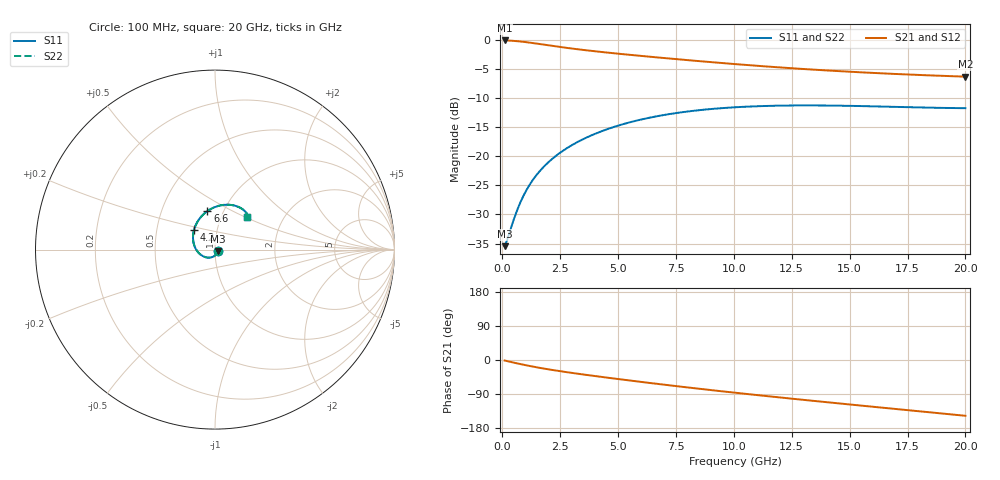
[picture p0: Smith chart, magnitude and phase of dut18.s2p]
! Created with skrf 1.9.0 (http://scikit-rf.org).
# GHz S RI R 50.0
!freq ReS11 ImS11 ReS21 ImS21 ReS12 ImS12 ReS22 ImS22
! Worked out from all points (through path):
!   200 points, 100 MHz to 20 GHz, reference 50 ohm
!   highest |S21| = -0.14 dB at 100 MHz (marker M1); lowest = -6.4 dB at 20 GHz (marker M2)
!   group delay of S21, straight-line fit = 19.2 ps
!   lowest |S11| = -35.5 dB at 100 MHz (marker M3), VSWR 1.03, Z = 51.6 - j0.713 ohm
!   |S11| at or under -10 dB: start of sweep to end of sweep
!   |S22| runs from -35.5 to -11.3 dB; largest |S21 - S12| = 2.2e-15
!   S11 on the Smith chart (normalised r, x): 100 MHz: 1.03, -0.01; 4.2 GHz: 0.77, +0.18; 6.6 GHz: 0.84, +0.38; 20 GHz: 1.32, +0.52
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0.1  0.0154 -0.00692  0.9835 -0.0236  0.9835 -0.0236  0.0154 -0.00692
0.2  0.0141 -0.0125  0.9815 -0.0482  0.9815 -0.0482  0.0141 -0.0125
0.6  0.000499 -0.0327  0.9615 -0.1414  0.9615 -0.1414  0.000499 -0.0327
0.8  -0.0103 -0.0396  0.9454 -0.1841  0.9454 -0.1841  -0.0103 -0.0396
1.1  -0.0294 -0.0446  0.9161 -0.2421  0.9161 -0.2421  -0.0294 -0.0446
1.4  -0.0497 -0.043  0.8826 -0.2926  0.8826 -0.2926  -0.0497 -0.043
1.8  -0.0749 -0.032  0.8352 -0.3494  0.8352 -0.3494  -0.0749 -0.032
2.3  -0.0997 -0.0079  0.7756 -0.4067  0.7756 -0.4067  -0.0997 -0.0079
2.9  -0.1173 0.0289  0.7065 -0.4611  0.7065 -0.4611  -0.1173 0.0289
3.5  -0.1226 0.068  0.6405 -0.5048  0.6405 -0.5048  -0.1226 0.068
4.2  -0.1165 0.1112  0.5664 -0.546  0.5664 -0.546  -0.1165 0.1112
5.3  -0.0892 0.168  0.4543 -0.5933  0.4543 -0.5933  -0.0892 0.168
6.6  -0.0425 0.2143  0.328 -0.6255  0.328 -0.6255  -0.0425 0.2143
6.8  -0.0348 0.2196  0.3093 -0.6284  0.3093 -0.6284  -0.0348 0.2196
8.4  0.0267 0.2454  0.1677 -0.6346  0.1677 -0.6346  0.0267 0.2454
10.1  0.0835 0.2494  0.0355 -0.6145  0.0355 -0.6145  0.0835 0.2494
11.7  0.1245 0.2402  -0.0714 -0.5782  -0.0714 -0.5782  0.1245 0.2402
13.4  0.1545 0.2244  -0.1676 -0.5272  -0.1676 -0.5272  0.1545 0.2244
15  0.1714 0.2089  -0.2437 -0.4709  -0.2437 -0.4709  0.1714 0.2089
16.7  0.18 0.1952  -0.3109 -0.4046  -0.3109 -0.4046  0.18 0.1952
18.4  0.1821 0.1866  -0.365 -0.3326  -0.365 -0.3326  0.1821 0.1866
20  0.1807 0.1841  -0.4043 -0.2606  -0.4043 -0.2606  0.1807 0.1841
